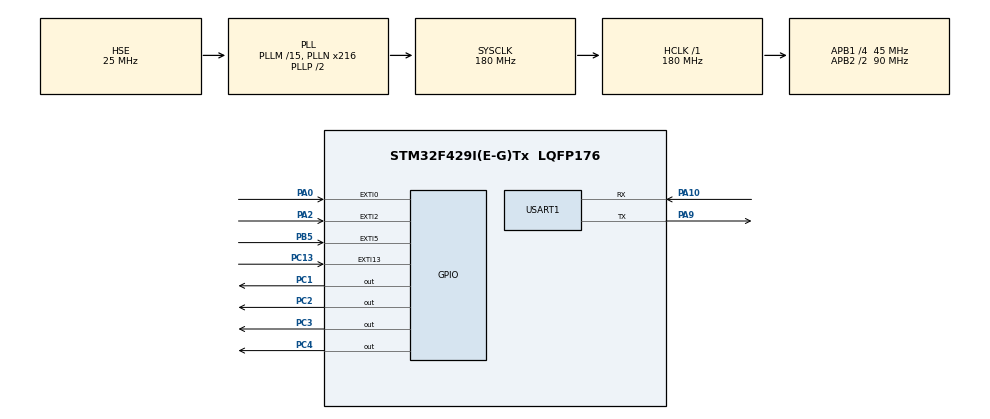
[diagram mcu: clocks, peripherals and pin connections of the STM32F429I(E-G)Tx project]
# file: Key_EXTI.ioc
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Mcu.Family=STM32F4
Mcu.Name=STM32F429I(E-G)Tx
Mcu.Package=LQFP176
NVIC.EXTI0_IRQn=true\:0\:0\:false\:false\:true\:true\:true\:true
NVIC.EXTI15_10_IRQn=true\:0\:0\:false\:false\:true\:true\:true\:true
NVIC.EXTI2_IRQn=true\:0\:0\:false\:false\:true\:true\:true\:true
NVIC.EXTI9_5_IRQn=true\:0\:0\:false\:false\:true\:true\:true\:true
NVIC.PriorityGroup=NVIC_PRIORITYGROUP_4
NVIC.USART1_IRQn=true\:0\:0\:false\:false\:true\:true\:true\:true
PA0/WKUP.GPIO_ModeDefaultEXTI=GPIO_MODE_IT_FALLING
PA0/WKUP.Signal=GPXTI0
PA10.Mode=Asynchronous
PA10.Signal=USART1_RX
PA2.GPIO_ModeDefaultEXTI=GPIO_MODE_IT_FALLING
PA2.Signal=GPXTI2
PA9.Mode=Asynchronous
PA9.Signal=USART1_TX
PB5.Signal=GPXTI5
PC1.Signal=GPIO_Output
PC13.Signal=GPXTI13
PC2.Signal=GPIO_Output
PC3.Signal=GPIO_Output
PC4.Signal=GPIO_Output
PH0/OSC_IN.Mode=HSE-External-Oscillator
PH0/OSC_IN.Signal=RCC_OSC_IN
PH1/OSC_OUT.Mode=HSE-External-Oscillator
PH1/OSC_OUT.Signal=RCC_OSC_OUT
ProjectManager.HeapSize=0x200
ProjectManager.StackSize=0x400
ProjectManager.TargetToolchain=MDK-ARM V5.32
RCC.48MHZClocksFreq_Value=90000000
RCC.AHBFreq_Value=180000000
RCC.APB1CLKDivider=RCC_HCLK_DIV4
RCC.APB1Freq_Value=45000000
RCC.APB1TimFreq_Value=90000000
RCC.APB2CLKDivider=RCC_HCLK_DIV2
RCC.APB2Freq_Value=90000000
RCC.APB2TimFreq_Value=180000000
RCC.CortexFreq_Value=180000000
RCC.HCLKFreq_Value=180000000
RCC.HSE_VALUE=25000000
RCC.HSI_VALUE=16000000
RCC.LSE_VALUE=32768
RCC.PLLM=15
RCC.PLLN=216
RCC.PLLSourceVirtual=RCC_PLLSOURCE_HSE
RCC.SYSCLKFreq_VALUE=180000000
RCC.SYSCLKSource=RCC_SYSCLKSOURCE_PLLCLK
RCC.VCOOutputFreq_Value=360000000
TIM7.Period=1
TIM7.Prescaler=89
USART1.VirtualMode=VM_ASYNC
VP_TIM7_VS_ClockSourceINT.Mode=Enable_Timer
board=custom

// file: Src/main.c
/* USER CODE BEGIN Header */
/**
  ******************************************************************************
  * @file           : main.c
  * @brief          : Main program body
  ******************************************************************************
  * @attention
  *
  * Copyright (c) 2024 STMicroelectronics.
  * All rights reserved.
  *
  * This software is licensed under terms that can be found in the LICENSE file
  * in the root directory of this software component.
  * If no LICENSE file comes with this software, it is provided AS-IS.
  *
  ******************************************************************************
  */
/* USER CODE END Header */
#include "main.h"
#include "tim.h"
#include "usart.h"
#include "gpio.h"

/* USER CODE BEGIN Includes */
#include "string.h"
/* USER CODE END Includes */

void SystemClock_Config(void);

/* USER CODE BEGIN 0 */
uint8_t recvData[9]={0};
void HAL_UART_RxCpltCallback(UART_HandleTypeDef *huart)
{
	if(huart->Instance == USART1)
	{
		if(strncmp((char *)recvData,"LED1 ONN",8)== 0)
		{
			HAL_GPIO_WritePin(GPIOC,GPIO_PIN_1,GPIO_PIN_SET);
//			OLED_showstring(0,0,(uint8_t *)"LED1 ONN",10);
		}
		else if(strncmp((char *)recvData,"LED1 OFF",8)== 0)
		{
			HAL_GPIO_WritePin(GPIOC, GPIO_PIN_1,GPIO_PIN_RESET);
	//	OLED showstring(0,0,(uint8 t*)"LED1 OFF"��10);
		}
		HAL_UART_Receive_IT(&huart1,recvData,sizeof(recvData)- 1);
	}
}

void HAL_GPIO_EXTI_Callback(uint16_t GPIO_Pin)
{
	UNUSED(GPIO_Pin);
	if(GPIO_Pin == GPIO_PIN_0)
	{
		HAL_GPIO_TogglePin(GPIOC, GPIO_PIN_1);
	}
	/*��ť1*/
	else if (GPIO_Pin == GPIO_PIN_2)
	{
		HAL_GPIO_TogglePin(GPIOC, GPIO_PIN_3);
	}
	/*��ť2*/
	else if (GPIO_Pin == GPIO_PIN_13)
	{
		HAL_GPIO_TogglePin(GPIOC, GPIO_PIN_2);
	}
	else if (GPIO_Pin == GPIO_PIN_5)
	{
		HAL_GPIO_TogglePin(GPIOC, GPIO_PIN_4);
	}
}

/* USER CODE END 0 */

int main(void)
{

  /* MCU Configuration--------------------------------------------------------*/

  /* Reset of all peripherals, Initializes the Flash interface and the Systick. */
  HAL_Init();

  /* Configure the system clock */
  SystemClock_Config();

  /* Initialize all configured peripherals */
  MX_GPIO_Init();
  MX_USART1_UART_Init();
  MX_TIM7_Init();

  /* Infinite loop */
  while (1)
  {

  }
}

void SystemClock_Config(void)
{
  RCC_OscInitTypeDef RCC_OscInitStruct = {0};
  RCC_ClkInitTypeDef RCC_ClkInitStruct = {0};

  /** Configure the main internal regulator output voltage
  */
  __HAL_RCC_PWR_CLK_ENABLE();
  __HAL_PWR_VOLTAGESCALING_CONFIG(PWR_REGULATOR_VOLTAGE_SCALE1);

  /** Initializes the RCC Oscillators according to the specified parameters
  * in the RCC_OscInitTypeDef structure.
  */
  RCC_OscInitStruct.OscillatorType = RCC_OSCILLATORTYPE_HSE;
  RCC_OscInitStruct.HSEState = RCC_HSE_ON;
  RCC_OscInitStruct.PLL.PLLState = RCC_PLL_ON;
  RCC_OscInitStruct.PLL.PLLSource = RCC_PLLSOURCE_HSE;
  RCC_OscInitStruct.PLL.PLLM = 15;
  RCC_OscInitStruct.PLL.PLLN = 216;
  RCC_OscInitStruct.PLL.PLLP = RCC_PLLP_DIV2;
  RCC_OscInitStruct.PLL.PLLQ = 4;
  if (HAL_RCC_OscConfig(&RCC_OscInitStruct) != HAL_OK)
  {
    Error_Handler();
  }

  /** Activate the Over-Drive mode
  */
  if (HAL_PWREx_EnableOverDrive() != HAL_OK)
  {
    Error_Handler();
  }

  /** Initializes the CPU, AHB and APB buses clocks
  */
  RCC_ClkInitStruct.ClockType = RCC_CLOCKTYPE_HCLK|RCC_CLOCKTYPE_SYSCLK
                              |RCC_CLOCKTYPE_PCLK1|RCC_CLOCKTYPE_PCLK2;
  RCC_ClkInitStruct.SYSCLKSource = RCC_SYSCLKSOURCE_PLLCLK;
  RCC_ClkInitStruct.AHBCLKDivider = RCC_SYSCLK_DIV1;
  RCC_ClkInitStruct.APB1CLKDivider = RCC_HCLK_DIV4;
  RCC_ClkInitStruct.APB2CLKDivider = RCC_HCLK_DIV2;

  if (HAL_RCC_ClockConfig(&RCC_ClkInitStruct, FLASH_LATENCY_5) != HAL_OK)
  {
    Error_Handler();
  }
}

void Error_Handler(void)
{
  __disable_irq();
  while (1)
  {
  }
}
